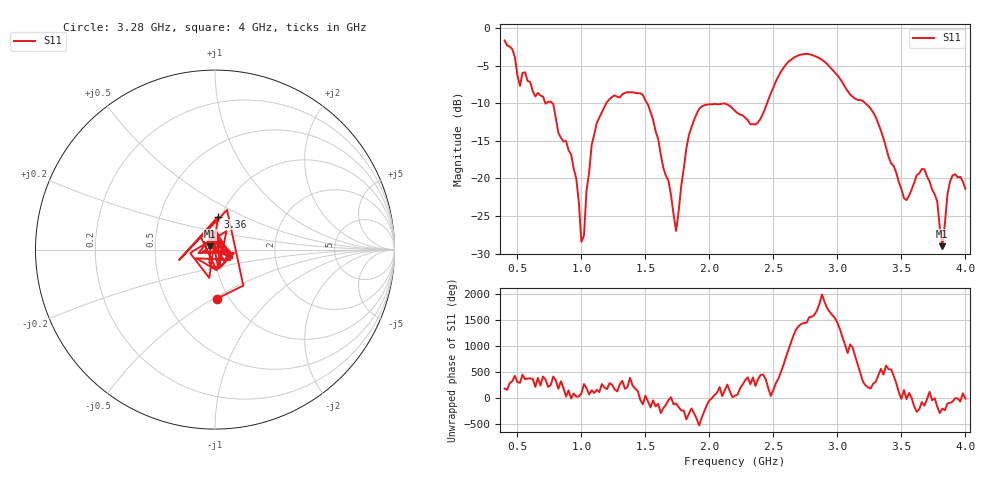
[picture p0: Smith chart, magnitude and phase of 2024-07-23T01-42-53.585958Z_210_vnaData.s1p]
!Created with skrf (http://scikit-rf.org).
# Hz S RI R 50.0
!freq ReS11 ImS11
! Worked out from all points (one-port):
!   181 points, 400 MHz to 4 GHz, reference 50 ohm
!   lowest |S11| = -29.0 dB at 3.82 GHz (marker M1), VSWR 1.07, Z = 47 + j1.74 ohm
!   |S11| at or under -10 dB: 773.7 MHz to 1.195 GHz (421.7 MHz wide, 42.8 % of centre); 1.513 GHz to 2.45 GHz (937.3 MHz wide, 47.3 % of centre); 3.217 GHz to end of sweep (the widest 3 of 4)
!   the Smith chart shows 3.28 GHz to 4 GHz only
!   S11 on the Smith chart (normalised r, x): 3.28 GHz: 0.88, -0.52; 3.36 GHz: 0.97, +0.37; 4 GHz: 1.17, -0.07
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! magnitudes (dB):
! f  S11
! 400 MHz  -1.7
! 520 MHz  -7.7
! 560 MHz  -5.9
! 780 MHz  -10.1
! 860 MHz  -15.1
! 960 MHz  -20.0
! 1 GHz  -28.4
! 1.02 GHz  -27.6
! 1.08 GHz  -15.6
! 1.12 GHz  -12.6
! 1.3 GHz  -9.2
! 1.52 GHz  -10.2
! 1.74 GHz  -27.0
! 1.76 GHz  -24.3
! 1.84 GHz  -14.2
! 1.92 GHz  -10.8
! 2.2 GHz  -11.0
! 2.38 GHz  -12.6
! 2.66 GHz  -3.9
! 3.1 GHz  -8.8
! 3.28 GHz  -11.2
! 3.36 GHz  -14.7
! 3.56 GHz  -22.3
! 3.68 GHz  -18.8
! 3.78 GHz  -23.0
! 3.82 GHz  -29.0
! 3.88 GHz  -20.4
! 4 GHz  -21.4
